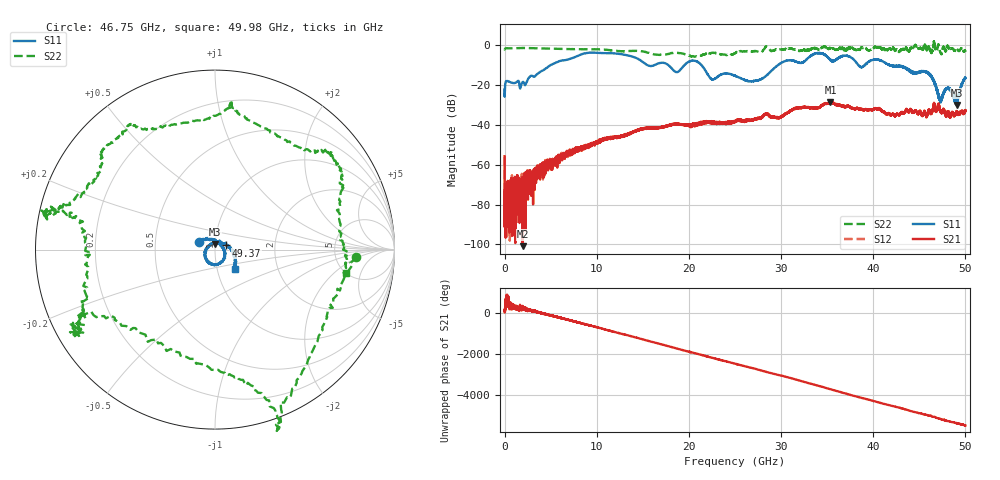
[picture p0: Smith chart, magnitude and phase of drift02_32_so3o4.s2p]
!Created with skrf (http://scikit-rf.org).
# Hz S RI R 50.0
!freq ReS11 ImS11 ReS21 ImS21 ReS12 ImS12 ReS22 ImS22
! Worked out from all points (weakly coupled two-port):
!   10001 points, 300 kHz to 50 GHz, reference 50 ohm
!   highest |S21| = -28.56 dB at 35.36 GHz (marker M1); lowest = -100.9 dB at 1.955 GHz (marker M2)
!   lowest |S11| = -30.0 dB at 49.06 GHz (marker M3), VSWR 1.07, Z = 49.8 + j3.15 ohm
!   |S11| at or under -10 dB: start of sweep to 4.956 GHz; 21.38 GHz to 29.63 GHz (8.248 GHz wide, 32.3 % of centre); 41.94 GHz to end of sweep (the widest 3 of 14)
!   |S22| runs from -5.7 to 2.5 dB; largest |S21 - S12| = 0.0039
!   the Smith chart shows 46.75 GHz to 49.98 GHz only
!   S11 on the Smith chart (normalised r, x): 46.75 GHz: 0.83, +0.07; 49.37 GHz: 1.13, +0.05; 49.98 GHz: 1.21, -0.27
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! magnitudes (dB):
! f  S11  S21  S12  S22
! 300 kHz  -22.2  -55.8  -56.3  -2.0
! 295.3 MHz  -17.9  -71.9  -74.5  -1.4
! 1.955 GHz  -18.4  -100.9  -75.5  -1.3
! 3.735 GHz  -13.7  -62.5  -61.6  -1.5
! 8.335 GHz  -4.5  -51.7  -51.9  -1.9
! 16.67 GHz  -9.1  -41.6  -41.5  -4.7
! 18.7 GHz  -13.5  -39.5  -39.3  -3.7
! 20.6 GHz  -7.7  -39.3  -39.5  -5.7
! 22.51 GHz  -17.1  -38.4  -38.6  -3.7
! 25 GHz  -15.3  -38.5  -38.2  -3.9
! 27.5 GHz  -17.6  -36.6  -36.7  -3.2
! 33.34 GHz  -5.0  -31.4  -31.4  -1.6
! 35.36 GHz  -7.3  -28.6  -28.7  -1.5
! 41.67 GHz  -9.7  -34.3  -34.3  -1.8
! 45.78 GHz  -13.3  -36.2  -35.5  -2.0
! 46.75 GHz  -20.1  -32.6  -32.4  -2.1
! 47.28 GHz  -26.9  -32.8  -33.0  -3.4
! 48.14 GHz  -21.3  -33.6  -33.7  -0.8
! 49.06 GHz  -30.0  -33.6  -33.8  -1.8
! 49.37 GHz  -23.5  -34.5  -34.2  -2.7
! 49.98 GHz  -16.2  -32.9  -32.4  -2.6
! 50 GHz  -16.4  -32.8  -33.0  -2.7
